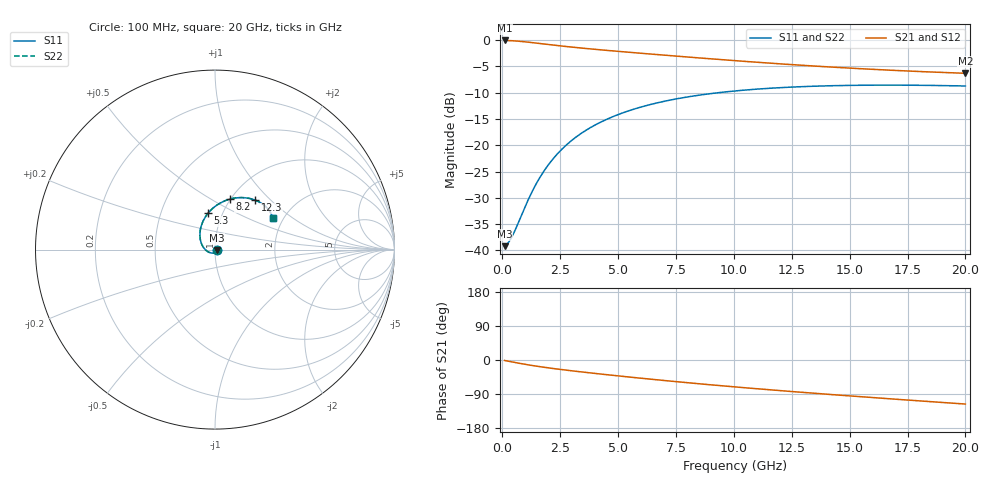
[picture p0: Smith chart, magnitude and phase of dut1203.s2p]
! Touchstone file exported from HFSS 2024.1.0
!  File:  C:/UserFiles/LocalFiles/RDL_TSV_Batchsim/temp_RDL_TSV_1203_1780257376.aedt
!  Generated:  04:14:07 AM Jun  1, 2026
!  Design:  RDL_TSV
!  Project:  temp_RDL_TSV_1203_1780257376
!  Setup:  Setup1
!  Solution:  Sweep
! Variables:
!  dtsv = 12.08um
!  hbump = 3um
!  htsv = 70.32um
!  ldown = 269.77um
!  lrdl = 130.08um
!  p = 40
!  p1 = 56.76um
!  rhole = 10um
!  subl = 1329.63um
!  t = 450um
!  tdown = 2.86um
!  trdl = 2.21um
!  viad = 10um
!  wdown = 23.32um
!  wrdl = 14.29um
!  xbump = 18um
# GHz S MA R 50.000000
! Terminal data exported
! Port[1] = TM1_1_T1
! Port[2] = TM1_4_T1
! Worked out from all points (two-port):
!   200 points, 100 MHz to 20 GHz, reference 50 ohm
!   highest |S21| = -0.10 dB at 100 MHz (marker M1); lowest = -6.3 dB at 20 GHz (marker M2)
!   |S21| within 3 dB of the highest: start of sweep to 7.576 GHz
!   lowest |S11| = -39.2 dB at 100 MHz (marker M3), VSWR 1.02, Z = 51.1 - j0.312 ohm
!   |S11| at or under -10 dB: start of sweep to 9.377 GHz
!   |S22| runs from -39.2 to -8.6 dB; largest |S21 - S12| = 7.4e-13
!   S11 on the Smith chart (normalised r, x): 100 MHz: 1.02, -0.01; 5.3 GHz: 0.86, +0.36; 8.2 GHz: 0.99, +0.61; 12.3 GHz: 1.29, +0.81; 20 GHz: 1.76, +0.71
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0.1  0.01098 -16.2  0.9887 -1.2  0.9887 -1.2  0.01098 -16.2
! Gamma 0 0 0 0
! Port Impedance 50 0 50 0
0.2  0.01144 -32.2  0.9876 -2.5  0.9876 -2.5  0.01144 -32.2
0.4  0.01329 -63.3  0.9833 -4.9  0.9833 -4.9  0.01328 -63.3
0.6  0.01642 -91.0  0.9767 -7.2  0.9767 -7.2  0.01642 -91.0
0.9  0.02351 -124.3  0.9637 -10.5  0.9637 -10.5  0.02352 -124.3
1.3  0.03664 -155.7  0.9429 -14.6  0.9429 -14.6  0.03666 -155.7
1.6  0.0484 -172.9  0.9263 -17.4  0.9263 -17.4  0.04843 -173.0
1.9  0.06118 173.3  0.9097 -20.0  0.9097 -20.0  0.06122 173.2
2.2  0.07456 161.9  0.8937 -22.5  0.8937 -22.5  0.07462 161.8
2.6  0.09281 149.3  0.8736 -25.6  0.8736 -25.6  0.09288 149.3
3  0.1111 139.0  0.8551 -28.5  0.8551 -28.5  0.1112 138.9
3.5  0.1335 128.2  0.8339 -32.0  0.8339 -32.0  0.1336 128.1
4.3  0.1676 114.3  0.8034 -37.4  0.8034 -37.4  0.1678 114.3
5.3  0.2064 100.7  0.7691 -43.8  0.7691 -43.8  0.2066 100.7
6  0.2307 92.9  0.7467 -48.2  0.7467 -48.2  0.231 92.9
6.8  0.2557 85.2  0.7224 -53.0  0.7224 -53.0  0.2559 85.2
8.2  0.2921 73.9  0.6827 -61.1  0.6827 -61.1  0.2924 73.9
10.1  0.3284 61.8  0.6343 -71.3  0.6343 -71.3  0.3288 61.8
12.3  0.3549 50.9  0.5866 -82.3  0.5866 -82.3  0.3553 50.9
13.4  0.363 46.4  0.566 -87.5  0.566 -87.5  0.3635 46.5
16.7  0.3722 35.8  0.5165 -102.2  0.5165 -102.2  0.3728 35.8
20  0.3651 28.6  0.482 -116.3  0.482 -116.3  0.3656 28.6
